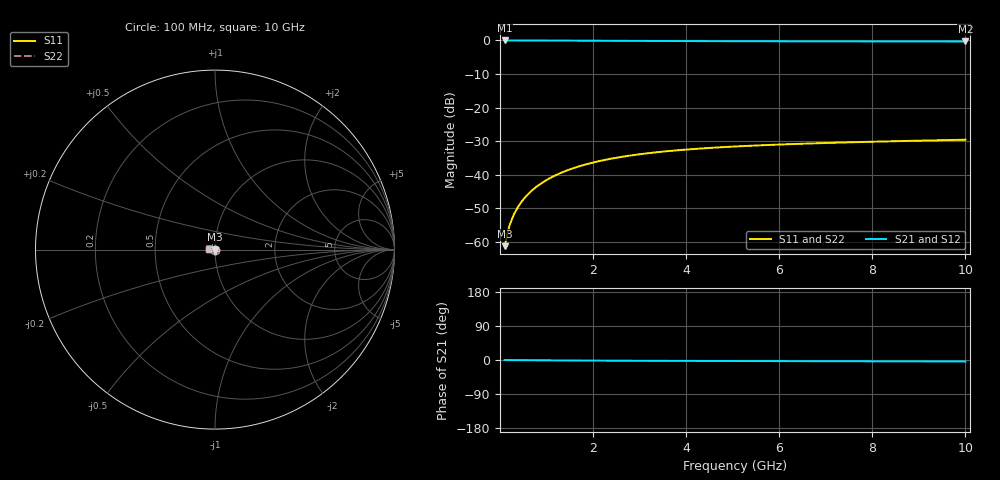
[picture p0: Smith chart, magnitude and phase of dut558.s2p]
! Touchstone file exported from HFSS 2024.1.0
!  File:  C:/UserFiles/LocalFiles/RDL_TSV_Batchsim/temp_TSV1_558_1779706986.aedt
!  Generated:  07:07:56 PM May 25, 2026
!  Design:  TSV1
!  Project:  temp_TSV1_558_1779706986
!  Setup:  Setup1
!  Solution:  Sweep
! Variables:
!  dtsv = 9.38um
!  hbump = 3um
!  htsv = 58.44um
!  lrdl = 252.1521522um
!  p = 40
!  p1 = 47.64um
!  t = 500um
!  trdl = 3um
!  wrdl = 24.89489489um
# GHz S MA R 50.000000
! Terminal data exported
! Port[1] = TSV22_T1
! Port[2] = TSV22_T2
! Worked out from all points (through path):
!   100 points, 100 MHz to 10 GHz, reference 50 ohm
!   highest |S21| = 0.00 dB at 100 MHz (marker M1); lowest = -0.3 dB at 10 GHz (marker M2)
!   lowest |S11| = -61.2 dB at 100 MHz (marker M3), VSWR 1.00, Z = 50 - j0.0859 ohm
!   |S11| at or under -10 dB: start of sweep to end of sweep
!   |S22| runs from -61.2 to -29.6 dB; largest |S21 - S12| = 7.2e-15
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0.1  0.0008663 -82.6  0.9998 -0.1  0.9998 -0.1  0.0008663 -82.6
! Gamma 0 0 0 0
! Port Impedance 50 0 50 0
0.2  0.001723 -88.8  0.9997 -0.2  0.9997 -0.2  0.001723 -88.8
0.3  0.002582 -92.1  0.9996 -0.3  0.9996 -0.3  0.002582 -92.1
0.4  0.003437 -94.7  0.9994 -0.4  0.9994 -0.4  0.003437 -94.7
0.5  0.004285 -97.0  0.9991 -0.5  0.9991 -0.5  0.004285 -97.0
0.6  0.005123 -99.2  0.9988 -0.5  0.9988 -0.5  0.005123 -99.2
0.7  0.005951 -101.2  0.9985 -0.6  0.9985 -0.6  0.005951 -101.2
0.8  0.006766 -103.1  0.9981 -0.7  0.9981 -0.7  0.006766 -103.1
0.9  0.007567 -105.0  0.9977 -0.8  0.9977 -0.8  0.007567 -105.0
1.1  0.009122 -108.7  0.9967 -0.9  0.9967 -0.9  0.009122 -108.7
1.4  0.01133 -113.8  0.995 -1.2  0.995 -1.2  0.01133 -113.8
1.6  0.0127 -117.1  0.9938 -1.3  0.9938 -1.3  0.0127 -117.1
1.8  0.014 -120.2  0.9925 -1.4  0.9925 -1.4  0.014 -120.2
2.1  0.0158 -124.7  0.9905 -1.6  0.9905 -1.6  0.0158 -124.7
2.5  0.01794 -130.2  0.9879 -1.8  0.9879 -1.8  0.01794 -130.2
2.9  0.01979 -135.3  0.9854 -2.0  0.9854 -2.0  0.01979 -135.3
3.4  0.02177 -141.0  0.9825 -2.2  0.9825 -2.2  0.02177 -141.0
4.2  0.02431 -149.0  0.9785 -2.4  0.9785 -2.4  0.02431 -149.0
5.1  0.02649 -156.6  0.975 -2.7  0.975 -2.7  0.02649 -156.6
6.7  0.02932 -167.6  0.9704 -3.1  0.9704 -3.1  0.02932 -167.6
8.4  0.03153 -176.9  0.9671 -3.5  0.9671 -3.5  0.03153 -176.9
10  0.03328 175.7  0.9651 -3.9  0.9651 -3.9  0.03328 175.7
